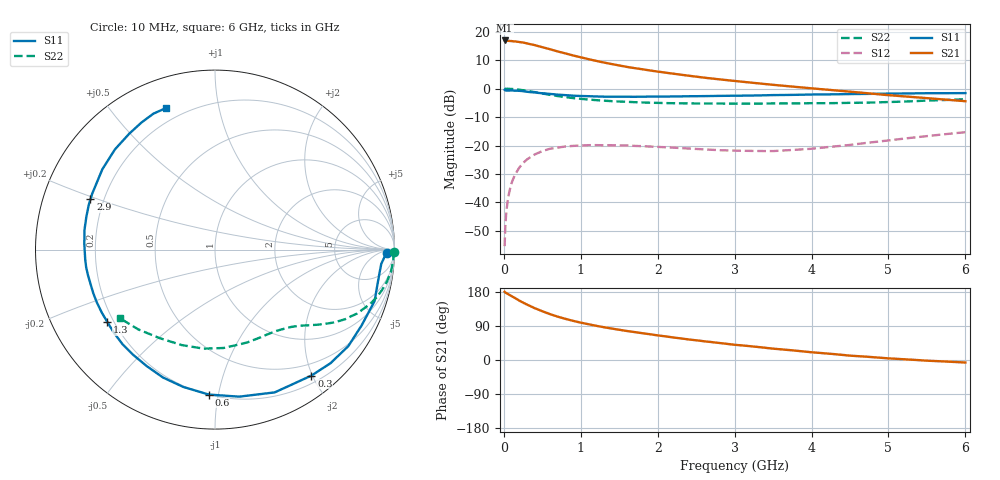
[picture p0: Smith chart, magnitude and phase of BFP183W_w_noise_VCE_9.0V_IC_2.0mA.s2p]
! (c) 2017  Infineon Technologies AG, Munich
! Infineon Technologies  Discrete & RF Semiconductors
! BFP183W
! VCE =  9.0 V,  IC =  2.0 mA
! Common Emitter S-Parameters:  Jan 2017
# GHz  S  MA  R  50
!  f  S11  S21  S12  S22
! GHz  MAG  ANG  MAG  ANG  MAG  ANG  MAG  ANG
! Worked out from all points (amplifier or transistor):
!   77 points, 10 MHz to 6 GHz, reference 50 ohm
!   highest |S21| = 16.9 dB at 10 MHz (marker M1)
!   |S21| within 3 dB of that: start of sweep to 587.9 MHz
!   unconditionally stable (mu >= 1): 2.829 GHz to 4.661 GHz
!   at 130 MHz: K = 0.05, MSG = 23.9 dB, |S12| = -31.2 dB
!   at 2.2 GHz: K = 0.78, MSG = 13.0 dB, |S12| = -20.7 dB
!   at 6 GHz: K = 0.75, MSG = 5.4 dB, |S12| = -15.3 dB
!   lowest NFmin = 0.76 dB at 450 MHz
!   S11 on the Smith chart (normalised r, x): 10 MHz: 39, -15; 300 MHz: 0.31, -1.98; 600 MHz: 0.20, -0.94; 1.3 GHz: 0.18, -0.30; 2.9 GHz: 0.15, +0.19; 6 GHz: 0.14, +0.71
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0.01  0.9559 -1.0  7.037 180.0  0.0017 85.9  1 -0.7
0.02  0.9297 -4.9  6.945 177.9  0.0039 93.7  0.9937 -1.5
0.03  0.9278 -6.2  6.941 176.8  0.0061 87.6  0.9941 -2.2
0.08  0.9278 -14.3  6.885 171.0  0.0172 80.5  0.9906 -5.6
0.15  0.9196 -27.4  6.759 162.9  0.0315 74.5  0.9744 -10.5
0.2  0.917 -35.9  6.611 156.9  0.0407 70.3  0.9577 -13.6
0.3  0.8838 -52.6  6.25 146.3  0.0568 60.4  0.9151 -19.4
0.4  0.8623 -67.3  5.838 136.8  0.0694 52.9  0.8685 -24.2
0.5  0.8303 -80.7  5.36 128.6  0.0799 45.8  0.8214 -28.2
0.6  0.8082 -92.5  4.932 121.1  0.0877 40.4  0.7786 -31.4
0.7  0.7853 -103.0  4.512 114.4  0.0918 35.3  0.7412 -33.9
0.8  0.7694 -112.1  4.167 108.6  0.0962 31.3  0.7101 -36.1
0.9  0.7522 -120.5  3.835 103.3  0.0985 27.7  0.6831 -38.0
1.1  0.737 -134.4  3.304 94.4  0.1015 22.7  0.6441 -41.1
1.3  0.723 -146.0  2.881 86.5  0.1012 18.1  0.6145 -44.2
1.6  0.7205 -160.2  2.413 76.5  0.1004 14.0  0.5869 -48.6
2.1  0.7258 -179.2  1.913 62.4  0.0932 11.6  0.5579 -56.9
2.9  0.7483 158.0  1.411 42.6  0.0821 16.6  0.5463 -72.3
3.1  0.7532 153.3  1.323 38.4  0.0809 19.9  0.545 -76.5
4.1  0.7906 133.2  0.986 18.8  0.0905 38.4  0.5548 -99.1
5.1  0.8202 118.8  0.75 3.2  0.1275 47.5  0.5869 -124.6
6  0.8348 108.9  0.601 -6.7  0.1715 45.7  0.6531 -144.1
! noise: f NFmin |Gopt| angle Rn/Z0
0.45  0.76  0.48  45  0.22
0.9  0.95  0.41  86  0.19
1.9  1.77  0.52  156  0.09
2.4  2.08  0.55  173  0.09
